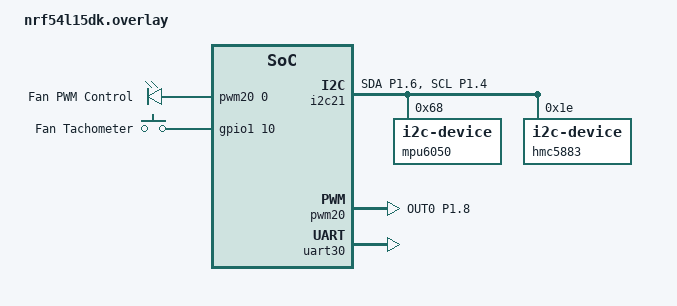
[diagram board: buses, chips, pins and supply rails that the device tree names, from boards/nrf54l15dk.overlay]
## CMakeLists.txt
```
cmake_minimum_required(VERSION 3.20.0)

set(BOARD_ROOT ${CMAKE_CURRENT_SOURCE_DIR})

if (NOT BUILD_TYPE)
    set(BUILD_TYPE debug)
endif()

find_package(Zephyr REQUIRED HINTS $ENV{ZEPHYR_BASE})
project(balalan)

target_sources(app PRIVATE
    src/main.c
    src/joys.c
    src/imu.c
    src/fan.c
)

include_directories(src)

# Add debug-specific compiler flags
if(BUILD_TYPE STREQUAL "debug")
    target_compile_options(app PRIVATE -O0 -g3)
    target_compile_definitions(app PRIVATE DEBUG=1)
endif()
```

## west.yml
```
manifest:
  self:
    west-commands: scripts/west-commands.yml

  remotes:
    - name: ncs
      url-base: http://github.com/nrfconnect

  projects:
    - name: nrf
      remote: ncs
      repo-path: sdk-nrf
      revision: v3.1.1
      import:
        name-blocklist:
          - ci-tools
          - hal_st
          - hal_nxp
          - hal_ambiq
          - hal_ethos_u
          - hal_rpi_pico
          - hal_gigadevice
          - hal_altera
          - hal_cypress
          - hal_infineon
          - hal_microchip
          - hal_cirrus-logic
          - hal_nxp
          - hal_openisa
          - hal_silabs
          - hal_xtensa
          - hal_ti
          - loramac-node
          - net-tools
          - edtt
          - trusted-firmware-m
          - sof
```

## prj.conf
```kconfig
# Basic hardware configurations
CONFIG_I2C=y
CONFIG_PM_DEVICE=y
CONFIG_GPIO=y
CONFIG_DK_LIBRARY=y
CONFIG_CLOCK_CONTROL=y
CONFIG_CLOCK_CONTROL_NRF_K32SRC_RC=y

CONFIG_PWM=y

CONFIG_ZBUS=y
CONFIG_ZBUS_CHANNEL_NAME=y

# Enable BLE
CONFIG_BT=y
CONFIG_BT_CENTRAL=y
CONFIG_BT_GATT_CLIENT=y
CONFIG_BT_SMP=y
CONFIG_PRINTK=y

# Logging configurations
CONFIG_LOG=y
CONFIG_LOG_MODE_DEFERRED=y
CONFIG_USE_SEGGER_RTT=y
CONFIG_LOG_BACKEND_RTT=y
CONFIG_LOG_BACKEND_RTT_BUFFER=0
CONFIG_LOG_BACKEND_RTT_MODE_OVERWRITE=y
CONFIG_LOG_BACKEND_UART=n
CONFIG_LOG_DEFAULT_LEVEL=3
```

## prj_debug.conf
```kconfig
CONFIG_DEBUG=y
CONFIG_STACK_USAGE=y
CONFIG_STACK_SENTINEL=y
CONFIG_ASSERT_VERBOSE=y
CONFIG_DEBUG_INFO=y
CONFIG_DEBUG_THREAD_INFO=y
CONFIG_DEBUG_COREDUMP=y
```

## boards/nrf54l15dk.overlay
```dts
&pinctrl {
    i2c21_default: i2c21_default {
        group1 {
            psels = <NRF_PSEL(TWIM_SDA, 1, 6)>,
                    <NRF_PSEL(TWIM_SCL, 1, 4)>;
            bias-pull-up;
        };
    };

    i2c21_sleep: i2c21_sleep {
        group1 {
            psels = <NRF_PSEL(TWIM_SDA, 1, 6)>,
                    <NRF_PSEL(TWIM_SCL, 1, 4)>;
            low-power-enable;
        };
    };

    pwm20_default: pwm20_default {
        group1 {
            psels = <NRF_PSEL(PWM_OUT0, 1, 8)>;  /* Fan PWM control pin */
        };
    };

    pwm20_sleep: pwm20_sleep {
        group1 {
            psels = <NRF_PSEL(PWM_OUT0, 1, 8)>;
            low-power-enable;
        };
    };
};

&i2c21 {
    status = "okay";
    pinctrl-0 = <&i2c21_default>;
    pinctrl-1 = <&i2c21_sleep>;
    pinctrl-names = "default", "sleep";
    zephyr,concat-buf-size = <128>;

    /* MPU6050 IMU sensor */
    mpu6050: mpu6050@68 {
        compatible = "i2c-device";
        status = "okay";
        reg = <0x68>;
    };

    /* HMC5883 Magnetometer (connected to MPU6050 XDA/XCL) */
    hmc5883: hmc5883@1e {
        compatible = "i2c-device";
        status = "okay";
        reg = <0x1e>;
    };
};

/* PWM for fan control */
&pwm20 {
    status = "okay";
    pinctrl-0 = <&pwm20_default>;
    pinctrl-1 = <&pwm20_sleep>;
    pinctrl-names = "default", "sleep";
};

/ {
    chosen {
        zephyr,console = &uart30;
        zephyr,shell-uart = &uart30;
        zephyr,uart-mcumgr = &uart30;
    };

    /* Fan control PWM node */
    fan {
        compatible = "pwm-leds";
        fan_pwm: fan_pwm {
            pwms = <&pwm20 0 PWM_USEC(40) PWM_POLARITY_NORMAL>;  /* 25kHz */
            label = "Fan PWM Control";
        };
    };

    /* Fan tachometer GPIO */
    fan_tach: fan_tach {
        compatible = "gpio-keys";
        fan_tach_pin: fan_tach_pin {
            gpios = <&gpio1 10 (GPIO_ACTIVE_HIGH | GPIO_PULL_UP)>;
            label = "Fan Tachometer";
        };
    };
};

&uart20 {
    status = "disabled";
};

&uart30 {
    status = "okay";
};
```

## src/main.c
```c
#include "balalan.h"
#include <dk_buttons_and_leds.h>
#include <zephyr/bluetooth/conn.h>
#include <zephyr/logging/log.h>

LOG_MODULE_REGISTER(main, LOG_LEVEL_DBG);

static void on_button_changed_handler(uint32_t button_state, uint32_t has_changed)
{
    LOG_DBG("Board button pressed");

    /* Button 1: Start/stop scanning */
    if (has_changed & DK_BTN1_MSK) {
        if (button_state & DK_BTN1_MSK) {
            if (!default_conn) {
                LOG_INF("Button 1 pressed - connection handling done by joys module");
            }
        }
    }

    /* Button 2: Disconnect */
    if (has_changed & DK_BTN2_MSK) {
        if (button_state & DK_BTN2_MSK) {
            if (default_conn) {
                LOG_INF("Disconnecting from joystick");
                bt_conn_disconnect(default_conn, BT_HCI_ERR_REMOTE_USER_TERM_CONN);
            }
        }
    }

        /* Button 3: Test fan control */
    // if (has_changed & DK_BTN3_MSK) {
    //     if (button_state & DK_BTN3_MSK) {
    //         static uint8_t test_speed = 0;
    //         test_speed += 50;
    //         if (test_speed > 255) test_speed = 0;
    //         LOG_INF("Testing fan at speed %u", test_speed);
    //         fan_set_speed(test_speed);
    //     }
    // }

    /* Button 4: Get fan RPM */
    if (has_changed & DK_BTN4_MSK) {
        if (button_state & DK_BTN4_MSK) {
            uint16_t rpm = fan_get_rpm();
            LOG_INF("Current fan RPM: %u", rpm);
        }
    }

}

int main(void)
{
    int err;

    LOG_INF("Starting BLE Joystick example");

    err = dk_leds_init();
    if (err) {
        LOG_ERR("LEDs init failed (err %d)", err);
        return err;
    }

    fan_init();

    // err = dk_buttons_init(on_button_changed_handler);
    // if (err) {
    //     LOG_ERR("Buttons init failed (err %d)", err);
    //     return err;
    // }

    /* Initialize IMU sensors (MPU6050 + HMC5883) */
    imu_init();

    joys_init();

    while (1) {
        k_sleep(K_FOREVER);
    }

    return 0;
}
```

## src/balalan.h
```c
#pragma once

#include <zephyr/types.h>
#include <zephyr/kernel.h>
#include <stdlib.h>
#include <zephyr/bluetooth/conn.h>

/* External declaration - defined in joys.c */
extern struct bt_conn *default_conn;

/* Function declarations */
void joys_init(void);
void imu_init(void);
void fan_init(void);
void fan_set_speed(uint8_t speed);  /* 0-255 */
uint16_t fan_get_rpm(void);
```

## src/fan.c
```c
#include "fan.h"
#include <zephyr/drivers/pwm.h>
#include <zephyr/drivers/gpio.h>
#include <zephyr/logging/log.h>
#include <zephyr/zbus/zbus.h>
#include <dk_buttons_and_leds.h>

LOG_MODULE_REGISTER(fan, LOG_LEVEL_INF);

/* Button subscriber */
ZBUS_SUBSCRIBER_DEFINE(button_sub, 4);

/* ZBUS */
ZBUS_CHAN_DEFINE(fan_chan, struct fan_data, NULL, NULL, ZBUS_OBSERVERS_EMPTY,
                 ZBUS_MSG_INIT(0));

struct button_msg {
    uint16_t buttons;
};

ZBUS_CHAN_DEFINE(button_chan, struct button_msg, NULL, NULL,
                 ZBUS_OBSERVERS(button_sub), ZBUS_MSG_INIT(.buttons = 0));

/* Hardware */
static const struct pwm_dt_spec fan_pwm = PWM_DT_SPEC_GET(DT_NODELABEL(fan_pwm));
static const struct gpio_dt_spec tach = GPIO_DT_SPEC_GET(DT_NODELABEL(fan_tach_pin), gpios);

/* State */
static struct gpio_callback tach_cb;
static volatile uint32_t pulses = 0;
static volatile int64_t last_pulse = 0;
static struct fan_data state = {0};
static uint8_t fan_speed = 0;

/* Tachometer ISR */
static void tach_isr(const struct device *dev, struct gpio_callback *cb, uint32_t pins)
{
    pulses++;
    last_pulse = k_uptime_get();
    dk_set_led(DK_LED4, pulses & 1);
}

/* Calculate RPM */
static uint16_t get_rpm(void)
{
    static uint32_t prev_pulses = 0;
    static int64_t prev_time = 0;

    int64_t now = k_uptime_get();
    int64_t dt = now - prev_time;

    if (dt < 1000) return state.rpm;

    uint32_t dp = pulses - prev_pulses;
    uint16_t rpm = (dp * 60000) / (2 * dt);

    prev_pulses = pulses;
    prev_time = now;

    return rpm;
}

/* Set fan speed (0-255) */
void fan_set_speed(uint8_t speed)
{
    uint32_t period = NSEC_PER_SEC / FAN_PWM_FREQUENCY_HZ;
    uint32_t pulse;
    uint32_t duty;

    if (speed == 0) {
        /* Keep PWM on at 1% duty when idle */
        duty = 1;
        pulse = (period * duty) / 100;
    } else {
        duty = FAN_MIN_DUTY_PERCENT + ((speed * (100 - FAN_MIN_DUTY_PERCENT)) / 255);
        pulse = (period * duty) / 100;
    }

    pwm_set_dt(&fan_pwm, period, pulse);

    state.speed_cmd = speed;
    state.duty_percent = duty;
    state.running = (speed > 0);
}

uint16_t fan_get_rpm(void)
{
    return state.rpm;
}

/* Monitor thread */
static void monitor_thread(void *a, void *b, void *c)
{
    while (1) {
        state.rpm = get_rpm();
        state.timestamp = k_uptime_get();
        zbus_chan_pub(&fan_chan, &state, K_MSEC(100));

        if (state.running && state.rpm < 100 && k_uptime_get() - last_pulse > 3000) {
            LOG_WRN("Fan stalled");
            dk_set_led(DK_LED4, 0);
        }
        if (!state.running) dk_set_led(DK_LED4, 0);

        k_sleep(K_MSEC(1000));
    }
}

K_THREAD_DEFINE(monitor, 1024, monitor_thread, NULL, NULL, NULL, 6, 0, 0);

/* Button control thread */
static void button_thread(void *a, void *b, void *c)
{
    const struct zbus_channel *chan;

    while (1) {
        if (zbus_sub_wait(&button_sub, &chan, K_FOREVER) == 0) {
            struct { uint16_t buttons; } msg;

            if (zbus_chan_read(&button_chan, &msg, K_MSEC(100)) == 0) {
                if (msg.buttons & BIT(0)) fan_speed = MIN(255, fan_speed + 25);
                if (msg.buttons & BIT(1)) fan_speed = fan_speed >= 25 ? fan_speed - 25 : 0;
                if (msg.buttons & BIT(4)) fan_speed = 50;
                if (msg.buttons & BIT(5)) fan_speed = 255;
                fan_set_speed(fan_speed);
                LOG_INF("Button: speed=%u", fan_speed);
            }
        }
    }
}

K_THREAD_DEFINE(button_ctrl, 1024, button_thread, NULL, NULL, NULL, 6, 0, 0);

/* Init */
void fan_init(void)
{
    if (!pwm_is_ready_dt(&fan_pwm) || !gpio_is_ready_dt(&tach)) {
        LOG_ERR("Hardware not ready");
        return;
    }

    gpio_pin_configure_dt(&tach, GPIO_INPUT);
    gpio_pin_interrupt_configure_dt(&tach, GPIO_INT_EDGE_RISING);
    gpio_init_callback(&tach_cb, tach_isr, BIT(tach.pin));
    gpio_add_callback(tach.port, &tach_cb);

    fan_set_speed(127);  /* Start at 50% speed */
    fan_speed = 127;
    LOG_INF("Fan initialized at 50%% speed");
}
```

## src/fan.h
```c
#pragma once

#include <zephyr/types.h>
#include <stdbool.h>

/* Fan control definitions */
#define FAN_PWM_FREQUENCY_HZ    25000
#define FAN_MIN_DUTY_PERCENT    20
#define FAN_MAX_DUTY_PERCENT    100

/* Fan data structure */
struct fan_data {
    uint8_t speed_cmd;
    uint16_t rpm;
    uint8_t duty_percent;
    bool running;
    int64_t timestamp;
};

/* Public API */
void fan_init(void);
void fan_set_speed(uint8_t speed);
uint16_t fan_get_rpm(void);
```

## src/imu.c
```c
#include "imu.h"
#include <zephyr/drivers/i2c.h>
#include <zephyr/logging/log.h>
#include <zephyr/sys/byteorder.h>
#include <zephyr/zbus/zbus.h>

LOG_MODULE_REGISTER(imu, LOG_LEVEL_INF);

ZBUS_CHAN_DEFINE(imu_chan, struct imu_data, NULL, NULL, ZBUS_OBSERVERS_EMPTY,
                 ZBUS_MSG_INIT(.timestamp = 0));

static const struct device *i2c_dev;

/* MPU6050 low-level functions */
static int mpu6050_write_reg(uint8_t reg, uint8_t val)
{
    uint8_t buf[2] = {reg, val};
    return i2c_write(i2c_dev, buf, sizeof(buf), MPU6050_ADDR);
}

static int mpu6050_read_regs(uint8_t reg, uint8_t *buf, size_t len)
{
    return i2c_write_read(i2c_dev, MPU6050_ADDR, &reg, 1, buf, len);
}

static int mpu6050_init(void)
{
    mpu6050_write_reg(MPU6050_REG_PWR_MGMT_1, 0x00);
    k_sleep(K_MSEC(100));
    mpu6050_write_reg(MPU6050_REG_SMPLRT_DIV, 0x07);
    mpu6050_write_reg(MPU6050_REG_CONFIG, 0x00);
    mpu6050_write_reg(MPU6050_REG_GYRO_CONFIG, 0x00);
    mpu6050_write_reg(MPU6050_REG_ACCEL_CONFIG, 0x00);
    LOG_INF("MPU6050 initialized");
    return 0;
}

static int mpu6050_enable_bypass(bool enable)
{
    return mpu6050_write_reg(MPU6050_REG_INT_PIN_CFG,
                            enable ? MPU6050_INT_PIN_CFG_BYPASS : 0x00);
}

static int mpu6050_setup_aux_i2c(uint8_t slave_addr, uint8_t slave_reg, uint8_t num_bytes)
{
    mpu6050_write_reg(MPU6050_REG_USER_CTRL, 0x00);
    k_sleep(K_MSEC(10));
    mpu6050_write_reg(MPU6050_REG_INT_PIN_CFG, 0x00);
    mpu6050_write_reg(MPU6050_REG_I2C_MST_CTRL, 0x4D);
    mpu6050_write_reg(MPU6050_REG_I2C_SLV0_ADDR, slave_addr | MPU6050_I2C_SLV_READ);
    mpu6050_write_reg(MPU6050_REG_I2C_SLV0_REG, slave_reg);
    mpu6050_write_reg(MPU6050_REG_I2C_SLV0_CTRL, MPU6050_I2C_SLV_EN | num_bytes);
    k_sleep(K_MSEC(10));
    mpu6050_write_reg(MPU6050_REG_USER_CTRL, MPU6050_USER_CTRL_I2C_MST_EN);
    LOG_INF("Auxiliary I2C configured");
    return 0;
}

/* HMC5883 functions */
static int hmc5883_init_via_mpu(void)
{
    uint8_t buf[2];

    buf[0] = HMC5883_REG_CONFIG_A;
    buf[1] = 0x70; /* 8 samples averaged, 15Hz, normal */
    i2c_write(i2c_dev, buf, 2, HMC5883_ADDR);

    buf[0] = HMC5883_REG_CONFIG_B;
    buf[1] = 0x20; /* Gain ±1.3 Ga */
    i2c_write(i2c_dev, buf, 2, HMC5883_ADDR);

    buf[0] = HMC5883_REG_MODE;
    buf[1] = HMC5883_MODE_CONTINUOUS;
    i2c_write(i2c_dev, buf, 2, HMC5883_ADDR);

    k_sleep(K_MSEC(50));

    mpu6050_setup_aux_i2c(HMC5883_ADDR, HMC5883_REG_DATA_X_MSB, 6);
    k_sleep(K_MSEC(100));

    LOG_INF("HMC5883 initialized via MPU6050");
    return 0;
}

/* Combined read function */
static int imu_read_all(struct imu_data *data)
{
    uint8_t buf[14];

    /* Read MPU6050 data */
    int ret = mpu6050_read_regs(MPU6050_REG_ACCEL_XOUT_H, buf, sizeof(buf));
    if (ret < 0) return ret;

    data->accel_x = sys_get_be16(&buf[0]);
    data->accel_y = sys_get_be16(&buf[2]);
    data->accel_z = sys_get_be16(&buf[4]);
    data->temp = sys_get_be16(&buf[6]);
    data->gyro_x = sys_get_be16(&buf[8]);
    data->gyro_y = sys_get_be16(&buf[10]);
    data->gyro_z = sys_get_be16(&buf[12]);

    /* Read HMC5883 data via auxiliary I2C */
    uint8_t mag_buf[6];
    ret = mpu6050_read_regs(MPU6050_REG_EXT_SENS_DATA, mag_buf, 6);
    if (ret < 0) return ret;

    /* HMC5883L data order: X, Z, Y */
    data->mag_x = sys_get_be16(&mag_buf[0]);
    data->mag_z = sys_get_be16(&mag_buf[2]);
    data->mag_y = sys_get_be16(&mag_buf[4]);

    data->timestamp = k_uptime_get();

    return 0;
}

/* IMU thread */
#define IMU_THREAD_STACK_SIZE 2048
#define IMU_THREAD_PRIORITY 5

static void imu_thread_fn(void *arg1, void *arg2, void *arg3)
{
    struct imu_data data;

    while (1) {
        if (imu_read_all(&data) == 0) {
            zbus_chan_pub(&imu_chan, &data, K_MSEC(100));

            static int count = 0;
            if (++count >= 10) {
                count = 0;
                LOG_DBG("A[%6d %6d %6d] G[%6d %6d %6d] M[%6d %6d %6d]",
                        data.accel_x, data.accel_y, data.accel_z,
                        data.gyro_x, data.gyro_y, data.gyro_z,
                        data.mag_x, data.mag_y, data.mag_z);
            }
        }

        k_sleep(K_MSEC(10));
    }
}

K_THREAD_DEFINE(imu_thread, IMU_THREAD_STACK_SIZE, imu_thread_fn,
                NULL, NULL, NULL, IMU_THREAD_PRIORITY, 0, 0);

/* Public initialization function */
void imu_init(void)
{
    i2c_dev = DEVICE_DT_GET(DT_NODELABEL(i2c21));
    if (!device_is_ready(i2c_dev)) {
        LOG_ERR("I2C device not ready");
        return;
    }

    mpu6050_init();
    mpu6050_enable_bypass(true);
    k_sleep(K_MSEC(50));
    hmc5883_init_via_mpu();

    LOG_INF("IMU initialized");
}
```

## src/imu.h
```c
#pragma once

#include <zephyr/types.h>
#include <zephyr/device.h>

/* MPU6050 definitions */
#define MPU6050_ADDR 0x68
#define MPU6050_REG_SMPLRT_DIV      0x19
#define MPU6050_REG_CONFIG          0x1A
#define MPU6050_REG_GYRO_CONFIG     0x1B
#define MPU6050_REG_ACCEL_CONFIG    0x1C
#define MPU6050_REG_INT_PIN_CFG     0x37
#define MPU6050_REG_ACCEL_XOUT_H    0x3B
#define MPU6050_REG_TEMP_OUT_H      0x41
#define MPU6050_REG_GYRO_XOUT_H     0x43
#define MPU6050_REG_USER_CTRL       0x6A
#define MPU6050_REG_PWR_MGMT_1      0x6B
#define MPU6050_REG_I2C_MST_CTRL    0x24
#define MPU6050_REG_I2C_SLV0_ADDR   0x25
#define MPU6050_REG_I2C_SLV0_REG    0x26
#define MPU6050_REG_I2C_SLV0_CTRL   0x27
#define MPU6050_REG_EXT_SENS_DATA   0x49

#define MPU6050_INT_PIN_CFG_BYPASS  0x02
#define MPU6050_USER_CTRL_I2C_MST_EN 0x20
#define MPU6050_I2C_SLV_EN          0x80
#define MPU6050_I2C_SLV_READ        0x80

/* HMC5883 definitions */
#define HMC5883_ADDR 0x1E
#define HMC5883_REG_CONFIG_A    0x00
#define HMC5883_REG_CONFIG_B    0x01
#define HMC5883_REG_MODE        0x02
#define HMC5883_REG_DATA_X_MSB  0x03
#define HMC5883_MODE_CONTINUOUS 0x00

/* Data structures */
struct imu_data {
    int16_t accel_x, accel_y, accel_z;
    int16_t temp;
    int16_t gyro_x, gyro_y, gyro_z;
    int16_t mag_x, mag_y, mag_z;
    int64_t timestamp;
};

/* Public API */
void imu_init(void);
```

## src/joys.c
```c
#include "balalan.h"
#include <zephyr/sys/byteorder.h>
#include <zephyr/bluetooth/bluetooth.h>
#include <zephyr/bluetooth/gatt.h>
#include <zephyr/logging/log.h>
#include <zephyr/zbus/zbus.h>

LOG_MODULE_REGISTER(joys, LOG_LEVEL_INF);

struct button_msg {
    uint16_t buttons;
};

ZBUS_CHAN_DECLARE(button_chan);

struct report_sub {
    struct bt_gatt_subscribe_params *params;
    uint16_t value_handle;
    bt_gatt_notify_func_t notify_cb;
};

static struct bt_gatt_subscribe_params sub_params1;
static struct bt_gatt_subscribe_params sub_params2;
struct bt_conn *default_conn;

static uint8_t report1_cb(struct bt_conn *conn,
                          struct bt_gatt_subscribe_params *params,
                          const void *data, uint16_t length)
{
    if (!data) return BT_GATT_ITER_STOP;

    if (length >= 2) {
        uint16_t buttons = sys_get_le16(data);
        LOG_DBG("[BTN] 0x%04x", buttons);
        if (buttons & BIT(0)) LOG_DBG(" A");
        if (buttons & BIT(1)) LOG_DBG(" B");
        if (buttons & BIT(4)) LOG_DBG(" LB");
        if (buttons & BIT(5)) LOG_DBG(" RB");
        struct button_msg msg = { .buttons = buttons };
        zbus_chan_pub(&button_chan, &msg, K_NO_WAIT);
    }
    return BT_GATT_ITER_CONTINUE;
}

static uint8_t report2_cb(struct bt_conn *conn,
                          struct bt_gatt_subscribe_params *params,
                          const void *data, uint16_t length)
{
    if (!data) return BT_GATT_ITER_STOP;

    LOG_INF("[JS] %u bytes: ", length);

    return BT_GATT_ITER_CONTINUE;
}

static struct report_sub reports[] = {
    { &sub_params1, 0x0017, report1_cb },
    { &sub_params2, 0x0013, report2_cb },
};

static void connected(struct bt_conn *conn, uint8_t err)
{
    if (err) {
        LOG_ERR("Connection failed (err %u)", err);
        return;
    }

    LOG_INF("Connected – subscribing to reports...");

    for (size_t i = 0; i < ARRAY_SIZE(reports); ++i) {
        reports[i].params->notify = reports[i].notify_cb;
        reports[i].params->value = BT_GATT_CCC_NOTIFY;
        reports[i].params->value_handle = reports[i].value_handle;
        reports[i].params->ccc_handle = reports[i].value_handle + 1;
        bt_gatt_subscribe(conn, reports[i].params);
    }

    LOG_DBG("Subscribed to all reports. Ready!");
}

static void scan_cb(const bt_addr_le_t *addr, int8_t rssi, uint8_t adv_type,
                    struct net_buf_simple *buf)
{
    while (buf->len > 1) {
        uint8_t len = net_buf_simple_pull_u8(buf);
        if (len == 0 || len > buf->len) break;

        uint8_t type = net_buf_simple_pull_u8(buf);
        if (type == BT_DATA_NAME_COMPLETE || type == BT_DATA_NAME_SHORTENED) {
            char name[32];
            size_t name_len = MIN(len - 1, sizeof(name) - 1);
            memcpy(name, buf->data, name_len);
            name[name_len] = '\0';

            if (strstr(name, "Magicsee")) {
                char addr_str[BT_ADDR_LE_STR_LEN];
                bt_addr_le_to_str(addr, addr_str, sizeof(addr_str));
                LOG_INF("Found %s", name);

                bt_le_scan_stop();
                struct bt_le_conn_param *param = BT_LE_CONN_PARAM_DEFAULT;
                bt_conn_le_create(addr, BT_CONN_LE_CREATE_CONN, param, &default_conn);
                return;
            }
        }
        net_buf_simple_pull_mem(buf, len - 1);
    }
}

static void disconnected(struct bt_conn *conn, uint8_t reason)
{
    LOG_INF("Disconnected (reason %u)", reason);
    bt_conn_unref(default_conn);
    default_conn = NULL;
    bt_le_scan_start(BT_LE_SCAN_PASSIVE, scan_cb);
}

static struct bt_conn_cb conn_callbacks = {
    .connected = connected,
    .disconnected = disconnected,
};

void joys_init(void)
{
    bt_enable(NULL);
    bt_conn_cb_register(&conn_callbacks);
    bt_le_scan_start(BT_LE_SCAN_PASSIVE, scan_cb);
}
```
